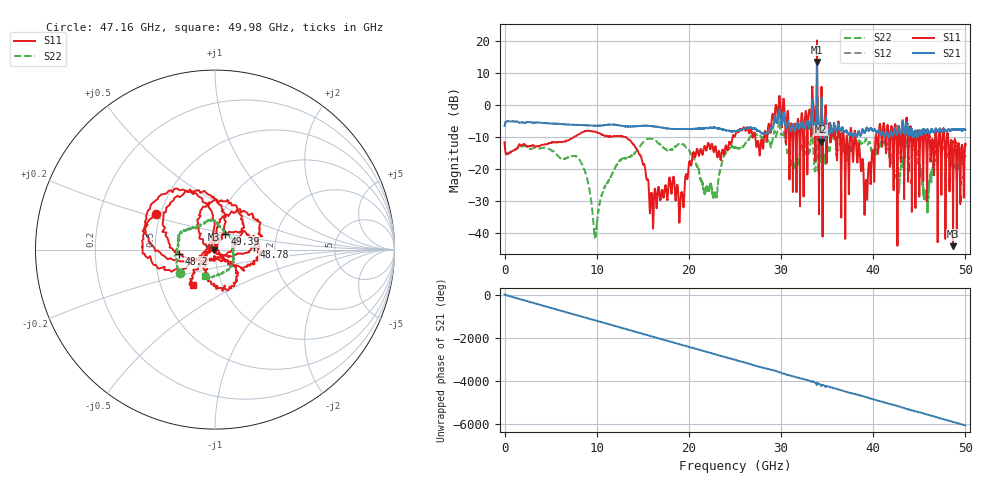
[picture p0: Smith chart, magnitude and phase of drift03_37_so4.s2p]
!Created with skrf (http://scikit-rf.org).
# Hz S RI R 50.0
!freq ReS11 ImS11 ReS21 ImS21 ReS12 ImS12 ReS22 ImS22
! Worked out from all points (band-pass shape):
!   10001 points, 300 kHz to 50 GHz, reference 50 ohm
!   highest |S21| = 13.50 dB at 33.9 GHz (marker M1); lowest = -11.4 dB at 34.32 GHz (marker M2)
!   |S21| within 3 dB of the highest: 33.89048 GHz to 33.90462 GHz (14.14 MHz wide, 0.0417 % of centre)
!   lowest |S11| = -44.1 dB at 48.67 GHz (marker M3), VSWR 1.01, Z = 49.4 + j0.0141 ohm
!   |S11| at or under -10 dB: start of sweep to 7.488 GHz; 13.13 GHz to 24.74 GHz (11.61 GHz wide, 61.3 % of centre); 38.09 GHz to 40.26 GHz (2.166 GHz wide, 5.53 % of centre) (the widest 3 of 46)
!   |S22| runs from -41.4 to 6.0 dB; largest |S21 - S12| = 0.35
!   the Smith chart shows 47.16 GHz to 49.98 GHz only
!   S11 on the Smith chart (normalised r, x): 47.16 GHz: 0.47, +0.22; 48.2 GHz: 0.67, -0.03; 48.78 GHz: 1.55, +0.04; 49.39 GHz: 1.10, +0.19; 49.98 GHz: 0.73, -0.31
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300000  -0.2342 -0.121  0.4663 0.0801  0.4649 0.0793  -0.2352 -0.1256
1.440291e9  0.2102 0.0649  -0.5479 -0.029  -0.5481 -0.0293  0.2112 -0.00424
2.915283e9  -0.2121 -0.0879  0.5341 0.0516  0.5345 0.0515  -0.2019 0.0402
4.415274e9  0.2061 0.1321  -0.5216 -0.0418  -0.5217 -0.0419  0.1981 -0.0874
8.33525e9  0.2885 -0.2335  0.1462 0.4658  0.1462 0.4663  -0.0731 -0.1011
9.845241e9  -0.3636 0.129  -0.1481 -0.4522  -0.1488 -0.4522  0.00875 0.0023
1.66702e10  0.0272 0.0439  -0.3782 0.253  -0.3787 0.2533  -0.1275 -0.2196
2.500015e10  -0.3263 -0.0151  -0.255 -0.2964  -0.2536 -0.2983  -0.2123 0.0259
2.895013e10  -0.3217 0.4219  -0.293 0.3239  -0.3044 0.2879  0.0614 0.2204
3.006512e10  0.3976 0.2653  0.4501 -0.1962  0.453 -0.1823  0.1741 -0.2973
3.171011e10  -0.0927 0.1866  -0.3606 0.3575  -0.3621 0.3529  0.0646 0.1591
3.33351e10  0.6318 -0.7982  0.2592 -0.8405  0.2617 -0.8225  -0.1879 -0.4267
3.38951e10  -2.701 -9.845  -4.646 0.8977  -4.366 1.102  0.5524 1.907
3.432009e10  -0.7778 -0.000548  -0.1809 0.1981  -0.2422 0.1784  0.1435 -0.0722
4.167005e10  -0.201 0.3044  0.3137 0.00226  0.3134 0.00967  -0.1897 -0.0123
4.716002e10  -0.331 0.2007  0.2518 0.3171  0.2518 0.3182  -0.1948 -0.1315
4.819501e10  -0.1997 -0.0234  0.1475 -0.3867  0.1501 -0.3902  -0.0304 0.1646
4.866501e10  -0.00627 0.000143  -0.2546 -0.3331  -0.2567 -0.3386  0.0792 0.0786
4.877501e10  0.2149 0.0135  -0.3255 -0.2526  -0.3285 -0.2499  0.0939 0.0554
4.939e10  0.0547 0.0871  -0.3387 0.2391  -0.337 0.2392  0.0997 -0.063
4.998e10  -0.1221 -0.1983  0.1207 0.3933  0.123 0.3942  -0.0534 -0.1476
5e10  -0.1228 -0.2154  0.1442 0.3853  0.1421 0.3842  -0.0543 -0.145
